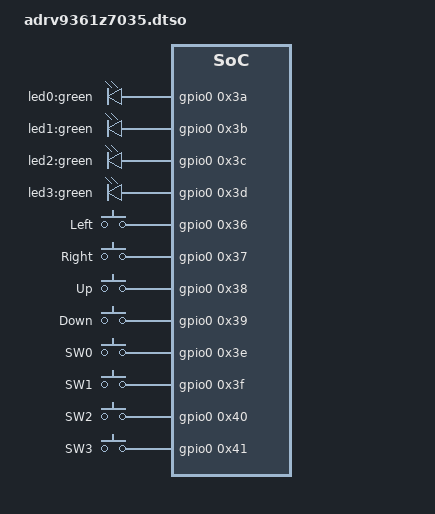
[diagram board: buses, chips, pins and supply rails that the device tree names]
/dts-v1/;
/plugin/;

/ {
	// Add board properties
	fragment@0{
		target = <&sdhci0>;
		__overlay__{
			disable-wp;
		};
	};
	fragment@1{
		target = <&clkc>;
		__overlay__{
			ps-clk-frequency = <33333333>;
		};
	};
	fragment@2{
		target = <&usb0>;
		__overlay__{
			xlnx,phy-reset-gpio = <&gpio0 0x7 0x0>;
		};
	};

	// Insert GPIO leds, buttons, and switches
	fragment@3{
		target-path = "/";
		__overlay__{
			leds {
				compatible = "gpio-leds";

				led0 {
					label = "led0:green";
					gpios = <&gpio0 0x3a 0x0>;
				};

				led1 {
					label = "led1:green";
					gpios = <&gpio0 0x3b 0x0>;
				};

				led2 {
					label = "led2:green";
					gpios = <&gpio0 0x3c 0x0>;
				};

				led3 {
					label = "led3:green";
					gpios = <&gpio0 0x3d 0x0>;
				};
			};

			gpio_keys {
				compatible = "gpio-keys";
				#address-cells = <1>;
				#size-cells = <0>;
				autorepeat;

				pb0 {
					label = "Left";
					linux,code = <0x69>;
					gpios = <&gpio0 0x36 0x0>;
				};

				pb1 {
					label = "Right";
					linux,code = <0x6a>;
					gpios = <&gpio0 0x37 0x0>;
				};

				pb2 {
					label = "Up";
					linux,code = <0x67>;
					gpios = <&gpio0 0x38 0x0>;
				};

				pb3 {
					label = "Down";
					linux,code = <0x6c>;
					gpios = <&gpio0 0x39 0x0>;
				};

				sw0 {
					label = "SW0";
					linux,input-type = <0x5>;
					linux,code = <0x0>;
					gpios = <&gpio0 0x3e 0x0>;
				};

				sw1 {
					label = "SW1";
					linux,input-type = <0x5>;
					linux,code = <0x1>;
					gpios = <&gpio0 0x3f 0x0>;
				};

				sw2 {
					label = "SW2";
					linux,input-type = <0x5>;
					linux,code = <0x2>;
					gpios = <&gpio0 0x40 0x0>;
				};

				sw3 {
					label = "SW3";
					linux,input-type = <0x5>;
					linux,code = <0x3>;
					gpios = <&gpio0 0x41 0x0>;
				};
			};
		};
	};

};
